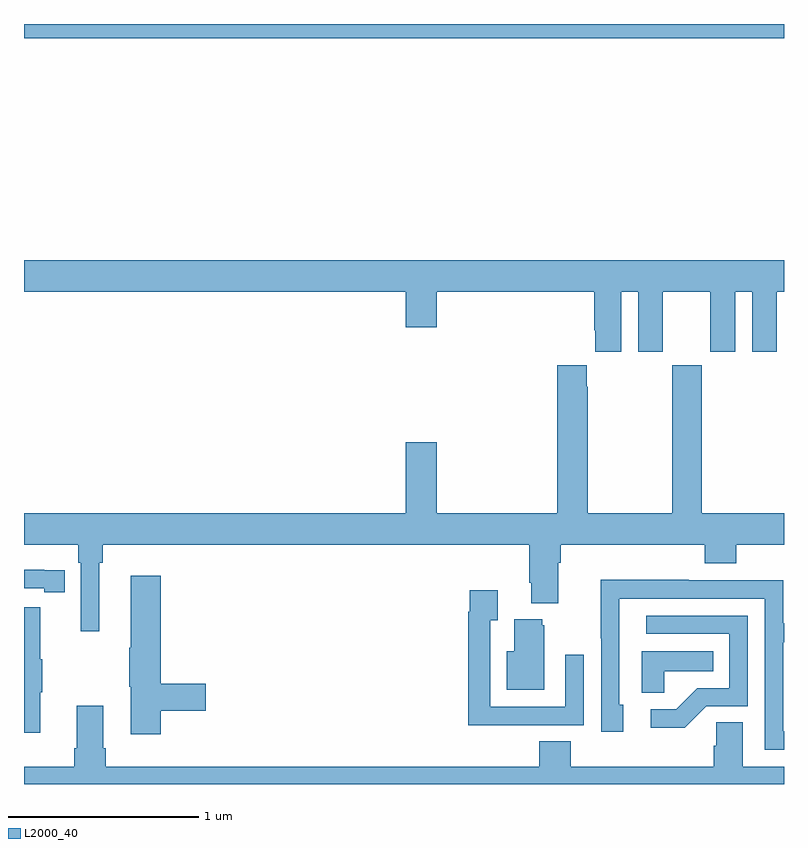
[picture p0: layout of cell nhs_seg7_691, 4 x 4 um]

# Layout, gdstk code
import gdstk
lib = gdstk.Library(unit=1e-6, precision=1e-09)
def R(c, l, rs):  # rectangles x0, y0, x1, y1
    for r in rs: c.add(gdstk.rectangle(r[:2], r[2:], *l))
def P(c, l, *ps):  # polygons
    for p in ps: c.add(gdstk.Polygon(p, *l))
L2000_40 = (2000, 40)

nhs_seg7_691 = lib.new_cell('nhs_seg7_691')
R(nhs_seg7_691, L2000_40, [(163,1025.924,167,1026)])
P(nhs_seg7_691, L2000_40, [(163,1024.592),(165.008,1024.592),(165.008,1024.404),(165.172,1024.404),(165.172,1024.592),(166.001,1024.592),(166.001,1024.387),(166.007,1024.387),(166.007,1024.275),(166.144,1024.275),(166.144,1024.592),(166.232,1024.592),(166.232,1024.275),(166.363,1024.275),(166.363,1024.592),(166.613,1024.592),(166.613,1024.275),(166.744,1024.275),(166.744,1024.592),(166.832,1024.592),(166.832,1024.275),(166.963,1024.275),(166.963,1024.592),(167,1024.592),(167,1024.756),(163,1024.756)],
  [(166.583,1023.161),(166.748,1023.161),(166.748,1023.26),(167,1023.26),(167,1023.424),(166.566,1023.424),(166.566,1024.204),(166.411,1024.204),(166.411,1023.424),(165.966,1023.424),(165.966,1024.091),(165.961,1024.091),(165.961,1024.204),(165.806,1024.204),(165.806,1023.424),(165.172,1023.424),(165.172,1023.799),(165.008,1023.799),(165.008,1023.424),(163,1023.424),(163,1023.26),(163.286,1023.26),(163.286,1023.164),(163.299,1023.164),(163.299,1022.805),(163.396,1022.805),(163.396,1023.164),(163.415,1023.164),(163.415,1023.26),(165.659,1023.26),(165.659,1023.058),(165.671,1023.058),(165.671,1022.951),(165.811,1022.951),(165.811,1023.164),(165.824,1023.164),(165.824,1023.26),(166.583,1023.26)],
  [(163.214,1023.126),(163.106,1023.126),(163.106,1023.127),(163,1023.127),(163,1023.03),(163.106,1023.03),(163.106,1023.01),(163.214,1023.01)],
  [(163.721,1022.386),(163.957,1022.386),(163.957,1022.528),(163.721,1022.528),(163.721,1023.097),(163.562,1023.097),(163.562,1022.717),(163.555,1022.717),(163.555,1022.511),(163.562,1022.511),(163.562,1022.262),(163.721,1022.262)],
  [(167,1022.277),(166.995,1022.277),(166.995,1022.746),(167,1022.746),(167,1022.847),(166.995,1022.847),(166.995,1023.072),(166.499,1023.072),(166.499,1023.074),(166.036,1023.074),(166.036,1022.767),(166.038,1022.767),(166.038,1022.274),(166.153,1022.274),(166.153,1022.418),(166.134,1022.418),(166.134,1022.976),(166.899,1022.976),(166.899,1022.181),(167,1022.181)],
  [(165.629,1022.31),(165.945,1022.31),(165.945,1022.68),(165.849,1022.68),(165.849,1022.406),(165.453,1022.406),(165.453,1022.863),(165.493,1022.863),(165.493,1023.019),(165.345,1023.019),(165.345,1022.906),(165.337,1022.906),(165.337,1022.309),(165.629,1022.309)],
  [(163.085,1022.483),(163.096,1022.483),(163.096,1022.657),(163.085,1022.657),(163.085,1022.929),(163,1022.929),(163,1022.271),(163.085,1022.271)],
  [(166.59,1022.409),(166.809,1022.409),(166.809,1022.886),(166.275,1022.886),(166.275,1022.79),(166.713,1022.79),(166.713,1022.505),(166.544,1022.505),(166.433,1022.394),(166.299,1022.394),(166.299,1022.297),(166.477,1022.297)],
  [(165.739,1022.835),(165.728,1022.835),(165.728,1022.866),(165.581,1022.866),(165.581,1022.698),(165.542,1022.698),(165.542,1022.495),(165.739,1022.495)],
  [(166.371,1022.594),(166.628,1022.594),(166.628,1022.698),(166.25,1022.698),(166.25,1022.479),(166.371,1022.479)],
  [(167,1022.092),(166.783,1022.092),(166.783,1022.324),(166.644,1022.324),(166.644,1022.201),(166.631,1022.201),(166.631,1022.092),(165.878,1022.092),(165.878,1022.225),(165.713,1022.225),(165.713,1022.092),(163.43,1022.092),(163.43,1022.188),(163.417,1022.188),(163.417,1022.413),(163.277,1022.413),(163.277,1022.188),(163.265,1022.188),(163.265,1022.092),(163,1022.092),(163,1022),(167,1022)])

lib.write_gds('nhs_seg7_691.gds')
